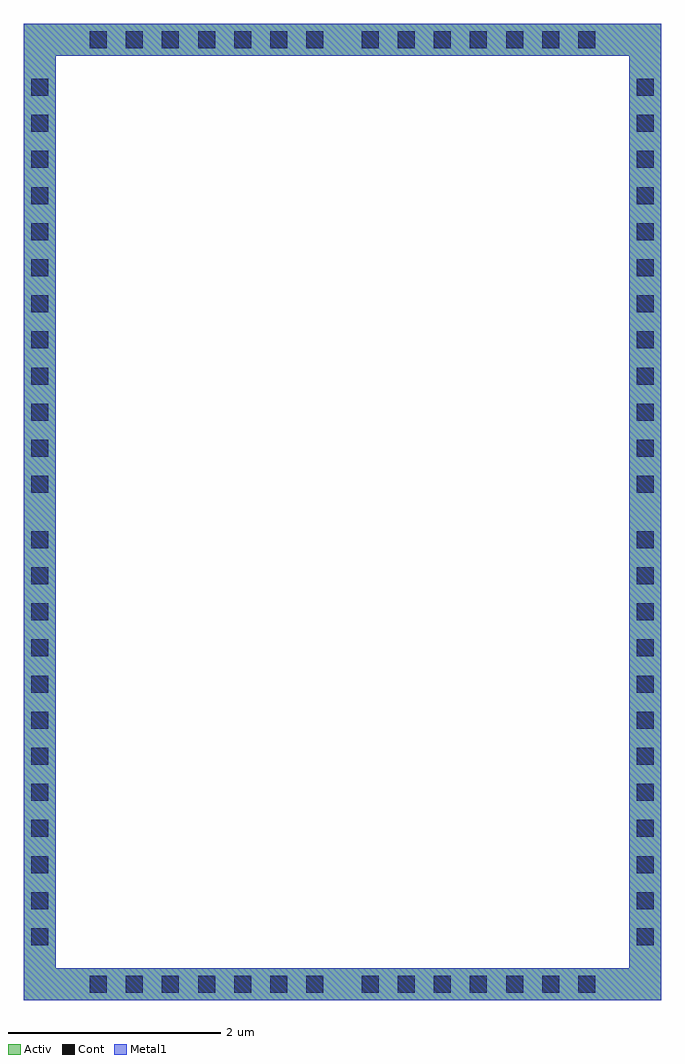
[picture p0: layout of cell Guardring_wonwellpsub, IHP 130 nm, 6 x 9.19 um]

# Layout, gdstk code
import gdstk
lib = gdstk.Library(unit=1e-6, precision=1e-09)
def R(c, l, rs):  # rectangles x0, y0, x1, y1
    for r in rs: c.add(gdstk.rectangle(r[:2], r[2:], *l))
def A(c, l, x, y, w, h, nx, ny, dx, dy):  # array of equal rectangles
    R(c, l, [(x+i*dx, y+j*dy, x+i*dx+w, y+j*dy+h) for i in range(nx) for j in range(ny)])
def P(c, l, *ps):  # polygons
    for p in ps: c.add(gdstk.Polygon(p, *l))
Activ = (1, 0)
Cont = (6, 0)
Metal1 = (8, 0)

guardring_wonwellpsub = lib.new_cell('Guardring_wonwellpsub')
P(guardring_wonwellpsub, Activ, [(-3,-4.595),(-3,4.295),(-2.7,4.295),(-2.7,-4.295),(2.7,-4.295),(2.7,4.295),(-3,4.295),(-3,4.595),(3,4.595),(3,-4.595)])
A(guardring_wonwellpsub, Cont, -2.38, -4.525, 0.16, 0.16, 7, 2, 0.34, 8.89)
A(guardring_wonwellpsub, Cont, 0.18, -4.525, 0.16, 0.16, 7, 2, 0.34, 8.89)
A(guardring_wonwellpsub, Cont, -2.93, -4.08, 0.16, 0.16, 1, 12, 0, 0.34)
A(guardring_wonwellpsub, Cont, 2.77, -4.08, 0.16, 0.16, 1, 12, 0, 0.34)
A(guardring_wonwellpsub, Cont, -2.93, 0.18, 0.16, 0.16, 1, 12, 0, 0.34)
A(guardring_wonwellpsub, Cont, 2.77, 0.18, 0.16, 0.16, 1, 12, 0, 0.34)
P(guardring_wonwellpsub, Metal1, [(-3,-4.595),(-3,4.295),(-2.7,4.295),(-2.7,-4.295),(2.7,-4.295),(2.7,4.295),(-3,4.295),(-3,4.595),(3,4.595),(3,-4.595)])

lib.write_gds('Guardring_wonwellpsub.gds')
